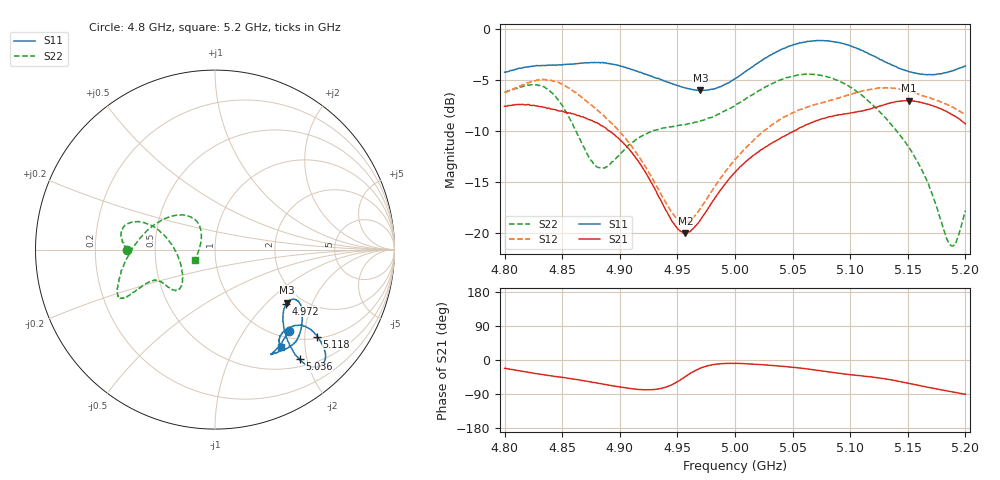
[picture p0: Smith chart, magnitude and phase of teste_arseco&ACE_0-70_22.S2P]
! Network Analyzer HP8722D
! Hewlett-Packard
! Data name: Linha & Wilkinson
! Saver's name: Rodrigo Anjos
! Comments: Teste da utilização de aquisição
! continua pelo VNA HP8722D
! Time and date: 8/5/2025 12:56
!  Frequency  S11  S21  S12  S22
# HZ  S  MA R 50
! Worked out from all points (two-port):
!   401 points, 4.8 GHz to 5.2 GHz, reference 50 ohm
!   highest |S21| = -7.05 dB at 5.151 GHz (marker M1); lowest = -20.0 dB at 4.957 GHz (marker M2)
!   |S21| within 3 dB of the highest: start of sweep to 4.891 GHz; 5.051 GHz to end of sweep
!   lowest |S11| = -6.0 dB at 4.97 GHz (marker M3), VSWR 2.99, Z = 84.5 - j66.3 ohm
!   |S11| at or under -10 dB: nowhere
!   |S22| runs from -21.3 to -4.4 dB; largest |S21 - S12| = 0.95
!   S11 on the Smith chart (normalised r, x): 4.8 GHz: 1.14, -1.65; 4.972 GHz: 1.66, -1.33; 5.036 GHz: 0.62, -1.87; 5.118 GHz: 1.05, -2.30; 5.2 GHz: 0.82, -1.57
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4.8e9  0.6127 -47.7  0.417 -22.1  0.485 -175.7  0.4908 -179.9
4.836e9  0.6617 -61.6  0.4095 -39.6  0.5622 168.2  0.5103 164.2
4.851e9  0.6682 -59.7  0.3927 -46.4  0.5314 158.5  0.4122 159.2
4.867e9  0.6779 -54.9  0.3696 -53.8  0.4608 150.9  0.2744 167.0
4.877e9  0.6824 -51.7  0.3509 -59.4  0.4146 147.1  0.2183 -177.2
4.886e9  0.6797 -48.5  0.3305 -63.9  0.3755 144.0  0.2077 -158.2
4.909e9  0.6357 -40.4  0.2527 -75.2  0.2711 137.8  0.2713 -133.3
4.934e9  0.5703 -32.9  0.149 -76.1  0.1615 141.3  0.3211 -135.5
4.957e9  0.5124 -32.7  0.09958 -43.4  0.1119 174.8  0.3386 -144.9
4.97e9  0.4986 -36.3  0.1153 -21.5  0.1312 -163.4  0.3525 -149.8
4.972e9  0.4988 -37.1  0.1199 -19.2  0.1365 -161.0  0.3561 -150.6
5e9  0.5691 -47.9  0.1976 -9.0  0.2282 -146.7  0.4205 -153.6
5.036e9  0.7714 -52.3  0.2829 -15.4  0.3496 -147.3  0.5514 -151.9
5.067e9  0.8719 -48.4  0.3474 -25.3  0.4209 -154.4  0.5978 -155.0
5.096e9  0.8407 -43.0  0.3828 -37.2  0.4692 -162.6  0.5374 -167.2
5.118e9  0.7464 -40.4  0.4054 -44.5  0.5051 -173.0  0.4307 173.2
5.134e9  0.6752 -40.1  0.4315 -51.5  0.511 177.2  0.3461 153.4
5.151e9  0.6177 -43.2  0.4443 -61.7  0.4931 167.7  0.2631 132.8
5.167e9  0.5956 -49.0  0.4269 -71.7  0.4635 160.8  0.1771 122.7
5.187e9  0.6182 -54.9  0.3835 -83.3  0.4189 153.7  0.08683 158.6
5.192e9  0.6313 -55.5  0.3692 -85.9  0.404 152.2  0.08982 -178.1
5.2e9  0.6573 -55.8  0.3419 -90.5  0.3769 149.4  0.1283 -152.0
